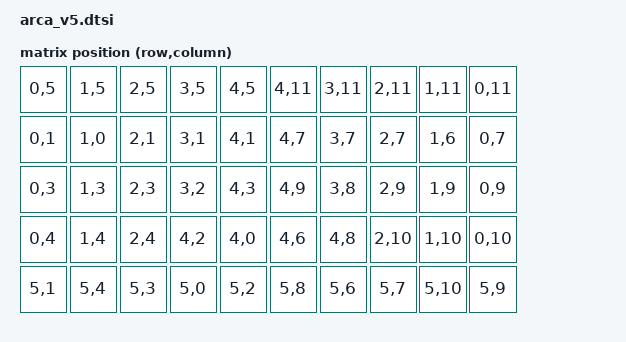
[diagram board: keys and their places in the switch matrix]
// Arca rev.2（設計上の名前 v5）— 共通シールド定義 / 2026-10-28
//
// ■ 正
//   ピン      = chat-files/ark_body_net_v5.py の XIAO_ASSIGN（L/R 別・XIAO は鏡にしない）
//   キー→線/バス = 同 charlie(half)（R は L と同じ表・5way の NAV_BUS だけ L/R で違う）
//   5way の方向 = chat-files/ark_body_net.py の NAV_PAD_TO_DIR / _R（rev3 の実測）。
//               ★v5 の NAV の足形・置く向き・パッド名は rev3 と L/R とも同じ（KiCad で照合 10-28）＝同じ表が効く
//   照合      = chat-files/ark_fw_v5_check.py（恒久ゲート・壊すと落ちる）
//
// ■ rev3（ark）との違い
//   ・マトリクス → **チャーリープレックス**（線 6＋INTR 1・ダイオード DL/DI で INTR に集める＝v4/v5 の回路）
//   ・ENC なし・LCD なし → **OLED 0.91" 128×32（SSD1306・I2C）**
//   ・外付けの SK6812 なし → **XIAO 内蔵の RGB**（台帳 E4）
//   ・トラボは**左右とも PMW3610**（センサ基板 1 種・R は 180° 回して付ける）
//   ・位置番号（キー順）は rev3 と同じ＝キーマップは rev3 の並びのまま（指 4 行[L5+R5]→L ナビ 5→R ナビ 5）

#include <dt-bindings/zmk/matrix_transform.h>

/ {
    chosen {
        zmk,kscan = &kscan0;
        zmk,physical-layout = &arca_v5_layout;   // DYA の画面（arca_v5_layouts.dtsi・gen_layout.py v5）
    };

    // ■ チャーリーの RC(行, 列) ＝ RC(駆動する線 − 1, 読む線 − 1)
    //   zmk kscan_gpio_charlieplex: row＝出力にした gpios の番号・col＝入力で読む番号。
    //   キー（線 ln, バス b）は「線 ln を High → ソケット → キーのダイオード → バス b → DL_b → 線 b」で読める
    //   ＝RC(ln−1, b−1)。R は col-offset 6。
    // ■ 5way の行（L/R とも 実際に倒す向き UP LEFT CENTER RIGHT DOWN の順）
    //   L: UP=パッド DOWN（バス 2）・LEFT=パッド UP（5）・CENTER（4）・RIGHT=パッド RIGHT（1）・DOWN=パッド LEFT（3）
    //   R: UP=パッド UP（3）・LEFT=パッド LEFT（1）・CENTER（2）・RIGHT=パッド DOWN（5）・DOWN=パッド RIGHT（4）
    //   ★実機で違ったら transform を手で直さず ark_body_net.NAV_PAD_TO_DIR(_R) を直す（ゲートが追従する）
    default_transform: keymap_transform_0 {
        compatible = "zmk,matrix-transform";
        columns = <12>;
        rows = <6>;
        map = <
RC(0,5) RC(1,5) RC(2,5) RC(3,5) RC(4,5)      RC(4,11) RC(3,11) RC(2,11) RC(1,11) RC(0,11)
RC(0,1) RC(1,0) RC(2,1) RC(3,1) RC(4,1)      RC(4,7)  RC(3,7)  RC(2,7)  RC(1,6)  RC(0,7)
RC(0,3) RC(1,3) RC(2,3) RC(3,2) RC(4,3)      RC(4,9)  RC(3,8)  RC(2,9)  RC(1,9)  RC(0,9)
RC(0,4) RC(1,4) RC(2,4) RC(4,2) RC(4,0)      RC(4,6)  RC(4,8)  RC(2,10) RC(1,10) RC(0,10)
RC(5,1) RC(5,4) RC(5,3) RC(5,0) RC(5,2)      RC(5,8)  RC(5,6)  RC(5,7)  RC(5,10) RC(5,9)
        >;
    };

    // gpios / interrupt-gpios は per-side（arca_v5_left/right.overlay）。
    // ★GPIO_ACTIVE_HIGH だけ書く: ドライバが入力に**プルダウン**を自分で付ける
    //   （kscan_gpio_charlieplex.c: ACTIVE_LOW ならプルアップ・それ以外はプルダウン）。INTR も同じ。
    kscan0: kscan {
        compatible = "zmk,kscan-gpio-charlieplex";
        // ★ディープスリープ（CONFIG_ZMK_SLEEP）から**キーで起こす**（rev3 09-29 と同じ）。
        //   眠るとき kscan だけ suspend されず、全線 High＋INTR の割り込み待ちのまま System OFF＝
        //   どのキー（5way 含む）でも INTR が立って起きる
        wakeup-source;
    };

    // 両手のトラボ（PMW3610）。R の動きは split で L（central）へ送る
    split_inputs {
        #address-cells = <1>;
        #size-cells = <0>;

        tb_split: tb_split@0 {
            compatible = "zmk,input-split";
            reg = <0>;
        };
    };

    tb_split_listener: tb_split_listener {
        compatible = "zmk,input-listener";
        status = "disabled";
        device = <&tb_split>;
    };

    // XIAO 内蔵の RGB（ボード定義の gpio-leds: 赤 P0.26・緑 P0.30・青 P0.06）を状態 LED に
    // （zmk-module-arca-led の GPIO 出力・台帳 E4「MeKaBu の rgbled_adapter と同じ」）
    aliases {
        led-red = &led0;
        led-green = &led1;
        led-blue = &led2;
    };
};

// ★ボード（xiao_ble）既定の周辺で v5 のピンと重なるもの（rev3 09-30「起きない」の教訓・dts_pin_check が見る）
//   ・xiao_spi（spi2: P1.13/14/15＝D8/D9/D10）… v5 はセンサの SPI（D7/D8 or D6/D8）と OLED（D9/D10）に使う → 止める
//   ・xiao_i2c（i2c1: P0.04/P0.05＝D4/D5）… v5 は D4＝線 5・D5＝INTR（L）/CS（R）→ ピンを D9/D10 へ付け替えて OLED に使う
&xiao_spi {
    status = "disabled";
};

// ■ OLED（I2C1・SDA＝D9 P1.14／SCL＝D10 P1.15＝MeKaBu と同じ・台帳 E3）
//   プルアップは OLED モジュールの上の物（ark_body_net_v5 の注記）＋ nRF の内蔵（bias-pull-up）
&pinctrl {
    i2c1_default: i2c1_default {
        group1 {
            psels = <NRF_PSEL(TWIM_SDA, 1, 14)>,
                    <NRF_PSEL(TWIM_SCL, 1, 15)>;
            bias-pull-up;
        };
    };

    i2c1_sleep: i2c1_sleep {
        group1 {
            psels = <NRF_PSEL(TWIM_SDA, 1, 14)>,
                    <NRF_PSEL(TWIM_SCL, 1, 15)>;
            low-power-enable;
            bias-pull-up;
        };
    };
};

&xiao_i2c {
    status = "okay";
    pinctrl-0 = <&i2c1_default>;
    pinctrl-1 = <&i2c1_sleep>;
    pinctrl-names = "default", "sleep";
    clock-frequency = <I2C_BITRATE_STANDARD>;

    // MC091GX（0.91" 128×32・SSD1306）。値は MeKaBu2（zmk-config-MKB2 MKB_R_Base.overlay）と同じ。
    // ★向き: v5 は**ヘッダが南・表示が北**＝縦長に置いている（台帳 10-18）。組み込み画面は横長前提なので
    //   字は横倒しに出た（11-02 ユーザー: 左右とも「東を下にすると読める」）。
    //   → 11-02 から自前の縦の画面（zmk-module-arca-oled・北が上）。縦→横の写しはそのモジュールの中
    //   （上下が逆なら CONFIG_ARCA_OLED_ROT180・白黒が逆なら CONFIG_ARCA_OLED_INK_BLACK=n。ここの DT は触らない）
    oled: ssd1306@3c {
        compatible = "solomon,ssd1306fb";
        reg = <0x3c>;
        width = <128>;
        height = <32>;
        segment-offset = <0>;
        page-offset = <0>;
        display-offset = <0>;
        multiplex-ratio = <31>;
        segment-remap;
        com-invdir;
        com-sequential;
        inversion-on;
        prechargep = <0x22>;
    };
};

/ {
    chosen {
        zephyr,display = &oled;
    };
};

#include "arca_v5_layouts.dtsi"
